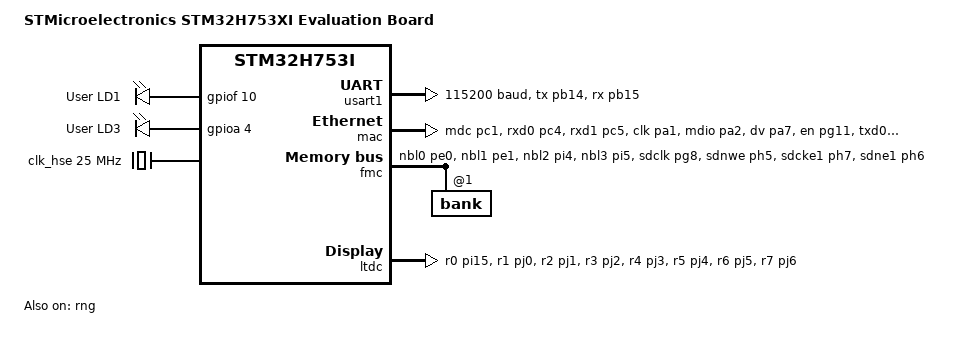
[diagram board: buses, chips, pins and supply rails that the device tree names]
/*
 * Copyright (c) 2021 Blue Clover Devices
 *
 * SPDX-License-Identifier: Apache-2.0
 */

/dts-v1/;
#include <st/h7/stm32h753Xi.dtsi>
#include <st/h7/stm32h753xihx-pinctrl.dtsi>
#include <zephyr/dt-bindings/input/input-event-codes.h>
#include <zephyr/dt-bindings/memory-attr/memory-attr.h>
#include <zephyr/dt-bindings/memory-attr/memory-attr-arm.h>

/ {
	model = "STMicroelectronics STM32H753XI Evaluation Board";
	compatible = "st,stm32h753i-eval";

	chosen {
		zephyr,console = &usart1;
		zephyr,shell-uart = &usart1;
		zephyr,sram = &sram0;
		zephyr,flash = &flash0;
		zephyr,dtcm = &dtcm;
		zephyr,code-partition = &slot0_partition;
		zephyr,display = &ltdc;
	};

	leds: leds {
		compatible = "gpio-leds";
		green_led: led_0 {
			gpios = <&gpiof 10 GPIO_ACTIVE_HIGH>;
			label = "User LD1";
		};
		red_led: led_1 {
			gpios = <&gpioa 4 GPIO_ACTIVE_HIGH>;
			label = "User LD3";
		};
	};

	sdram2: sdram@d0000000 {
		compatible = "zephyr,memory-region", "mmio-sram";
		device_type = "memory";
		reg = <0xd0000000 DT_SIZE_M(32)>;
		zephyr,memory-region = "SDRAM2";
		zephyr,memory-attr = <( DT_MEM_ARM(ATTR_MPU_RAM) )>;
	};

	aliases {
		led0 = &green_led;
		led1 = &red_led;
	};
};

&clk_hsi48 {
	status = "okay";
};

&clk_hse {
	clock-frequency = <DT_FREQ_M(25)>;
	status = "okay";
};

&pll {
	div-m = <5>;
	mul-n = <160>;
	div-p = <2>;
	div-q = <4>;
	div-r = <2>;
	clocks = <&clk_hse>;
	status = "okay";
};

&pll3 {
	div-m = <25>;
	mul-n = <336>;
	div-p = <2>;
	div-q = <7>;
	div-r = <16>;  // 21 MHz for LTDC
	clocks = <&clk_hse>;
	status = "okay";
};

&rcc {
	clocks = <&pll>;
	clock-frequency = <DT_FREQ_M(400)>;
	d1cpre = <1>;
	hpre = <2>;
	d1ppre = <2>;
	d2ppre1 = <2>;
	d2ppre2 = <2>;
	d3ppre = <2>;
};

&usart1 {
	pinctrl-0 = <&usart1_tx_pb14 &usart1_rx_pb15>;
	pinctrl-names = "default";
	current-speed = <115200>;
	status = "okay";
};

&rng {
	status = "okay";
};

&mac {
	status = "okay";
	pinctrl-0 = <&eth_mdc_pc1
		     &eth_rxd0_pc4
		     &eth_rxd1_pc5
		     &eth_ref_clk_pa1
		     &eth_mdio_pa2
		     &eth_crs_dv_pa7
		     &eth_tx_en_pg11
		     &eth_txd0_pg13
		     &eth_txd1_pg12>;
	pinctrl-names = "default";
};

&flash0 {
	partitions {
		compatible = "fixed-partitions";
		#address-cells = <1>;
		#size-cells = <1>;

		/* 128KB for bootloader */
		boot_partition: partition@0 {
			label = "mcuboot";
			reg = <0x00000000 DT_SIZE_K(128)>;
			read-only;
		};

		/* storage: 128KB for settings */
		storage_partition: partition@20000 {
			label = "storage";
			reg = <0x00020000 DT_SIZE_K(128)>;
		};

		/* application image slot: 256KB */
		slot0_partition: partition@40000 {
			label = "image-0";
			reg = <0x00040000 DT_SIZE_K(256)>;
		};

		/* backup slot: 256KB */
		slot1_partition: partition@80000 {
			label = "image-1";
			reg = <0x00080000 DT_SIZE_K(256)>;
		};

		/* swap slot: 128KB */
		scratch_partition: partition@c0000 {
			label = "image-scratch";
			reg = <0x000c0000 DT_SIZE_K(128)>;
		};

	};
};

&fmc {
	status = "okay";
	pinctrl-0 = <&fmc_nbl0_pe0 &fmc_nbl1_pe1 &fmc_nbl2_pi4 &fmc_nbl3_pi5
			&fmc_sdclk_pg8 &fmc_sdnwe_ph5 &fmc_sdcke1_ph7
			&fmc_sdne1_ph6 &fmc_sdnras_pf11 &fmc_sdncas_pg15
			&fmc_a0_pf0 &fmc_a1_pf1 &fmc_a2_pf2 &fmc_a3_pf3 &fmc_a4_pf4
			&fmc_a5_pf5 &fmc_a6_pf12 &fmc_a7_pf13 &fmc_a8_pf14
			&fmc_a9_pf15 &fmc_a10_pg0 &fmc_a11_pg1 &fmc_a12_pg2 &fmc_a13_pg3
			&fmc_a14_pg4 &fmc_a15_pg5 &fmc_d0_pd14 &fmc_d1_pd15
			&fmc_d2_pd0 &fmc_d3_pd1 &fmc_d4_pe7 &fmc_d5_pe8 &fmc_d6_pe9
			&fmc_d7_pe10 &fmc_d8_pe11 &fmc_d9_pe12 &fmc_d10_pe13
			&fmc_d11_pe14 &fmc_d12_pe15 &fmc_d13_pd8 &fmc_d14_pd9
			&fmc_d15_pd10 &fmc_d16_ph8 &fmc_d17_ph9 &fmc_d18_ph10
			&fmc_d19_ph11 &fmc_d20_ph12 &fmc_d21_ph13 &fmc_d22_ph14
			&fmc_d23_ph15 &fmc_d24_pi0 &fmc_d25_pi1 &fmc_d26_pi2
			&fmc_d27_pi3 &fmc_d28_pi6 &fmc_d29_pi7 &fmc_d30_pi9
			&fmc_d31_pi10>;
	pinctrl-names = "default";

	sdram {
		status = "okay";

		power-up-delay = <100>;
		num-auto-refresh = <8>;
		mode-register = <0x220>;
		refresh-rate = <0x603>;

		bank@1 {
			reg = <1>;
			st,sdram-control = <STM32_FMC_SDRAM_NC_9
					STM32_FMC_SDRAM_NR_12
					STM32_FMC_SDRAM_MWID_32
					STM32_FMC_SDRAM_NB_4
					STM32_FMC_SDRAM_CAS_2
					STM32_FMC_SDRAM_SDCLK_PERIOD_2
					STM32_FMC_SDRAM_RBURST_ENABLE
					STM32_FMC_SDRAM_RPIPE_0>;
			st,sdram-timing = <2 6 4 6 2 2 2>;
		};
	};
};

&ltdc {
	pinctrl-0 = <&ltdc_r0_pi15 &ltdc_r1_pj0 &ltdc_r2_pj1 &ltdc_r3_pj2
			&ltdc_r4_pj3 &ltdc_r5_pj4 &ltdc_r6_pj5 &ltdc_r7_pj6
			&ltdc_g0_pj7 &ltdc_g1_pj8 &ltdc_g2_pj9 &ltdc_g3_pj10
			&ltdc_g4_pj11 &ltdc_g5_pk0 &ltdc_g6_pk1 &ltdc_g7_pk2
			&ltdc_b0_pj12 &ltdc_b1_pj13 &ltdc_b2_pj14 &ltdc_b3_pj15
			&ltdc_b4_pk3 &ltdc_b5_pk4 &ltdc_b6_pk5 &ltdc_b7_pk6
			&ltdc_de_pk7 &ltdc_clk_pi14 &ltdc_hsync_pi12 &ltdc_vsync_pi13>;
	pinctrl-names = "default";
	//disp-on-gpios = <&gpiok 7 GPIO_ACTIVE_HIGH>;
	bl-ctrl-gpios = <&gpioa 6 GPIO_ACTIVE_HIGH>;
	ext-sdram = <&sdram2>;
	status = "okay";

	width = <640>;
	height = <480>;
	pixel-format = <PANEL_PIXEL_FORMAT_RGB_888>;
	display-timings {
		compatible = "zephyr,panel-timing";
		de-active = <0>;
		pixelclk-active = <0>;
		hsync-active = <0>;
		vsync-active = <0>;
		hsync-len = <30>;
		vsync-len = <3>;
		hback-porch = <114>;
		vback-porch = <32>;
		hfront-porch = <16>;
		vfront-porch = <10>;
	};
	def-back-color-red = <0xFF>;
	def-back-color-green = <0xFF>;
	def-back-color-blue = <0xFF>;
};
